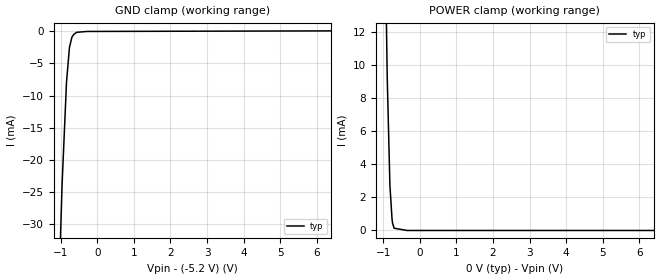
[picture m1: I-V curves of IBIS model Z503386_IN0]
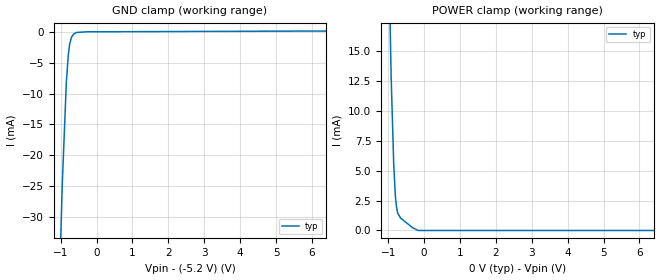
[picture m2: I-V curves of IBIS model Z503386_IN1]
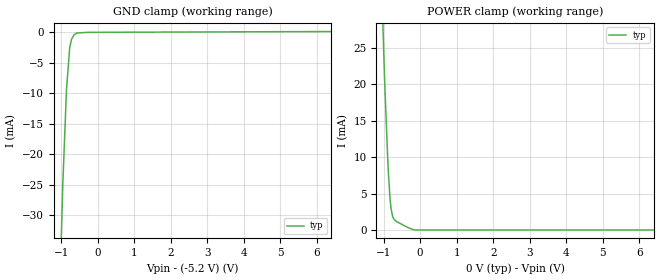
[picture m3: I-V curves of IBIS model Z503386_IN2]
| YOU ARE ONLY AUTHORIZED TO USE THIS SOFTWARE
| ACCORDING TO LICENSOR'S LICENSE RESTRICTIONS.
[IBIS Ver] 3.1
[File Name] mc100el31d.ibs
[File Rev] 2.0
[Source] Measured and created by ICX Technology
[Date] Friday 7/14/00 9:07:48 AM
[Copyright]
| (C) COPYRIGHT 1993-2000
| MENTOR GRAPHICS CORPORATION
| ICX STANDARD LIBRARY, ICX PROJECT MODELING,
| ICX CUSTOM MODELING, ICX VENDOR MODEL
| ALL RIGHTS RESERVED.
| THE FOLLOWING ARE TRADEMARKS OR SERVICE MARKS OF
| MENTOR GRAPHICS CORPORATION:ICX (R), ICX STANDARD
| LIBRARY(R), ICX PROJECT MODELING(R), ICX CUSTOM
| MODELING(R), qualityIBIS(TM), MODELVIEWER(TM),
| AND MODELEDITOR(TM)
| ALL COPIES OF SOFTWARE, INCLUDING BUT NOT LIMITED TO
| ANY MODIFICATIONS, ENHANCEMENTS OR DERIVATIVE WORKS,
| MUST CONTAIN ALL MENTOR GRAPHICS CORPORATION'S
| NOTICES AND LEGENDS, INCLUDING THOSE EMBEDDED IN
| SOFTWARE AND THOSE AFFIXED TO SOFTWARE MEDIUM
| AND CONTAINER, AS RECEIVED FROM MENTOR GRAPHICS
| CORPORATION.
|  ZAP Model Builder 2.7
[Component] MC100EL31D
[Manufacturer] OnSemiconductor
[Package]
| variable   typ   min   max
R_pkg  .152ohms NA NA
L_pkg  2.714nH NA NA
C_pkg  .364pF NA NA
[Pin] signal_name  model_name  R_pin  L_pin C_pin
1 S Z503386_IN0 .154 2.924n .374p
2 D Z503386_IN1 .15 2.504n .354p
3 CLK Z503386_IN2 .15 2.504n .354p
4 R Z503386_IN3 .154 2.924n .374p
5 VEE POWER .154 2.924n .374p
6 _Q Z503386_OUT .15 2.504n .354p
7 Q Z503386_OUT .15 2.504n .354p
8 VCC POWER .154 2.924n .374p
| Models and submodels in the file (5): Z503386_IN0 (Input_ECL), Z503386_IN1 (Input_ECL), Z503386_IN2 (Input_ECL), Z503386_IN3 (Input_ECL), Z503386_OUT (Output_ECL)
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| (C) COPYRIGHT 1993-2000
| MENTOR GRAPHICS CORPORATION
| ICX STANDARD LIBRARY, ICX PROJECT MODELING,
| ICX CUSTOM MODELING, ICX VENDOR MODEL
| ALL RIGHTS RESERVED.
| THE FOLLOWING ARE TRADEMARKS OR SERVICE MARKS OF
| MENTOR GRAPHICS CORPORATION:ICX (R), ICX STANDARD
| LIBRARY(R), ICX PROJECT MODELING(R), ICX CUSTOM
| MODELING(R), qualityIBIS(TM), MODELVIEWER(TM),
| AND MODELEDITOR(TM)
| ALL COPIES OF SOFTWARE, INCLUDING BUT NOT LIMITED TO
| ANY MODIFICATIONS, ENHANCEMENTS OR DERIVATIVE WORKS,
| MUST CONTAIN ALL MENTOR GRAPHICS CORPORATION'S
| NOTICES AND LEGENDS, INCLUDING THOSE EMBEDDED IN
| SOFTWARE AND THOSE AFFIXED TO SOFTWARE MEDIUM
| AND CONTAINER, AS RECEIVED FROM MENTOR GRAPHICS
| CORPORATION.
| Model Application Version 1.89 2/18/99.
[Model] Z503386_IN0
Model_type Input_ECL
Vinl = -1.475V
Vinh = -1.165V
C_comp 8.000pF NA NA
| variable typ   min   max
[Voltage Range] -5.200V NA NA
[GND Clamp Reference] -5.200V NA NA
[POWER Clamp Reference] 0.000V NA NA
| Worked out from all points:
|   GND clamp passes 1 mA (typ) near -0.70 V on its own axis
|   POWER clamp passes 1 mA (typ) near -0.77 V on its own axis
[GND Clamp]
-5.2V     -824mA     NA         NA
-966mV    -23.86mA   NA         NA
-845mV    -7.931mA   NA         NA
-764mV    -2.504mA   NA         NA
-698mV    -932.1uA   NA         NA
-643mV    -457.8uA   NA         NA
-567mV    -157.1uA   NA         NA
-283.5mV  -22.08uA   NA         NA
10.4V     118.3uA    NA         NA
[POWER Clamp]
-5.2V     1.593A     NA         NA
-1.128V   51.39mA    NA         NA
-1.053V   33.11mA    NA         NA
-893.9mV  9.278mA    NA         NA
-820.3mV  2.74mA     NA         NA
-762.1mV  693.4uA    NA         NA
-746.4mV  431uA      NA         NA
-704.4mV  136.8uA    NA         NA
-352.2mV  0A         NA         NA
10.4V     0A         NA         NA
| (C) COPYRIGHT 1993-2000
| MENTOR GRAPHICS CORPORATION
| ICX STANDARD LIBRARY, ICX PROJECT MODELING,
| ICX CUSTOM MODELING, ICX VENDOR MODEL
| ALL RIGHTS RESERVED.
| THE FOLLOWING ARE TRADEMARKS OR SERVICE MARKS OF
| MENTOR GRAPHICS CORPORATION:ICX (R), ICX STANDARD
| LIBRARY(R), ICX PROJECT MODELING(R), ICX CUSTOM
| MODELING(R), qualityIBIS(TM), MODELVIEWER(TM),
| AND MODELEDITOR(TM)
| ALL COPIES OF SOFTWARE, INCLUDING BUT NOT LIMITED TO
| ANY MODIFICATIONS, ENHANCEMENTS OR DERIVATIVE WORKS,
| MUST CONTAIN ALL MENTOR GRAPHICS CORPORATION'S
| NOTICES AND LEGENDS, INCLUDING THOSE EMBEDDED IN
| SOFTWARE AND THOSE AFFIXED TO SOFTWARE MEDIUM
| AND CONTAINER, AS RECEIVED FROM MENTOR GRAPHICS
| CORPORATION.
| Model Application Version 1.89 2/18/99.
[Model] Z503386_IN1
Model_type Input_ECL
Vinl = -1.475V
Vinh = -1.165V
C_comp 8.000pF NA NA
| variable typ   min   max
[Voltage Range] -5.200V NA NA
[GND Clamp Reference] -5.200V NA NA
[POWER Clamp Reference] 0.000V NA NA
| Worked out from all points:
|   GND clamp passes 1 mA (typ) near -0.70 V on its own axis
[GND Clamp]
-5.2V     -901.6mA   NA         NA
-957mV    -24.73mA   NA         NA
-843mV    -8.192mA   NA         NA
-790mV    -3.837mA   NA         NA
-749mV    -1.964mA   NA         NA
-698mV    -880.7uA   NA         NA
-644mV    -415.9uA   NA         NA
-567mV    -131.4uA   NA         NA
-283.5mV  -19.08uA   NA         NA
10.4V     186.2uA    NA         NA
[POWER Clamp]
-5.2V     1.499A     NA         NA
-1.143V   55.53mA    NA         NA
-1.059V   34.58mA    NA         NA
-917.9mV  12.85mA    NA         NA
-848mV    5.697mA    NA         NA
-800.2mV  2.821mA    NA         NA
-767.4mV  1.943mA    NA         NA
-734.6mV  1.45mA     NA         NA
-655.7mV  1.037mA    NA         NA
-327.6mV  246.8uA    NA         NA
-163.8mV  0A         NA         NA
10.4V     0A         NA         NA
| (C) COPYRIGHT 1993-2000
| MENTOR GRAPHICS CORPORATION
| ICX STANDARD LIBRARY, ICX PROJECT MODELING,
| ICX CUSTOM MODELING, ICX VENDOR MODEL
| ALL RIGHTS RESERVED.
| THE FOLLOWING ARE TRADEMARKS OR SERVICE MARKS OF
| MENTOR GRAPHICS CORPORATION:ICX (R), ICX STANDARD
| LIBRARY(R), ICX PROJECT MODELING(R), ICX CUSTOM
| MODELING(R), qualityIBIS(TM), MODELVIEWER(TM),
| AND MODELEDITOR(TM)
| ALL COPIES OF SOFTWARE, INCLUDING BUT NOT LIMITED TO
| ANY MODIFICATIONS, ENHANCEMENTS OR DERIVATIVE WORKS,
| MUST CONTAIN ALL MENTOR GRAPHICS CORPORATION'S
| NOTICES AND LEGENDS, INCLUDING THOSE EMBEDDED IN
| SOFTWARE AND THOSE AFFIXED TO SOFTWARE MEDIUM
| AND CONTAINER, AS RECEIVED FROM MENTOR GRAPHICS
| CORPORATION.
| Model Application Version 1.89 2/18/99.
[Model] Z503386_IN2
Model_type Input_ECL
Vinl = -1.475V
Vinh = -1.165V
C_comp 8.000pF NA NA
| variable typ   min   max
[Voltage Range] -5.200V NA NA
[GND Clamp Reference] -5.200V NA NA
[POWER Clamp Reference] 0.000V NA NA
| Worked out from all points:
|   GND clamp passes 1 mA (typ) near -0.70 V on its own axis
[GND Clamp]
-5.2V     -938.4mA   NA         NA
-954mV    -24.97mA   NA         NA
-852mV    -9.263mA   NA         NA
-764mV    -2.497mA   NA         NA
-714mV    -1.137mA   NA         NA
-644mV    -411.4uA   NA         NA
-567mV    -129.9uA   NA         NA
-283.5mV  -19.79uA   NA         NA
10.4V     194.4uA    NA         NA
[POWER Clamp]
-5.2V     1.483A     NA         NA
-1.058V   34.61mA    NA         NA
-976.3mV  21.03mA    NA         NA
-878.9mV  8.726mA    NA         NA
-823.6mV  4.228mA    NA         NA
-796.9mV  2.957mA    NA         NA
-751.8mV  1.797mA    NA         NA
-711.2mV  1.433mA    NA         NA
-654.3mV  1.178mA    NA         NA
-327.2mV  316uA      NA         NA
-163.6mV  0A         NA         NA
10.4V     0A         NA         NA
